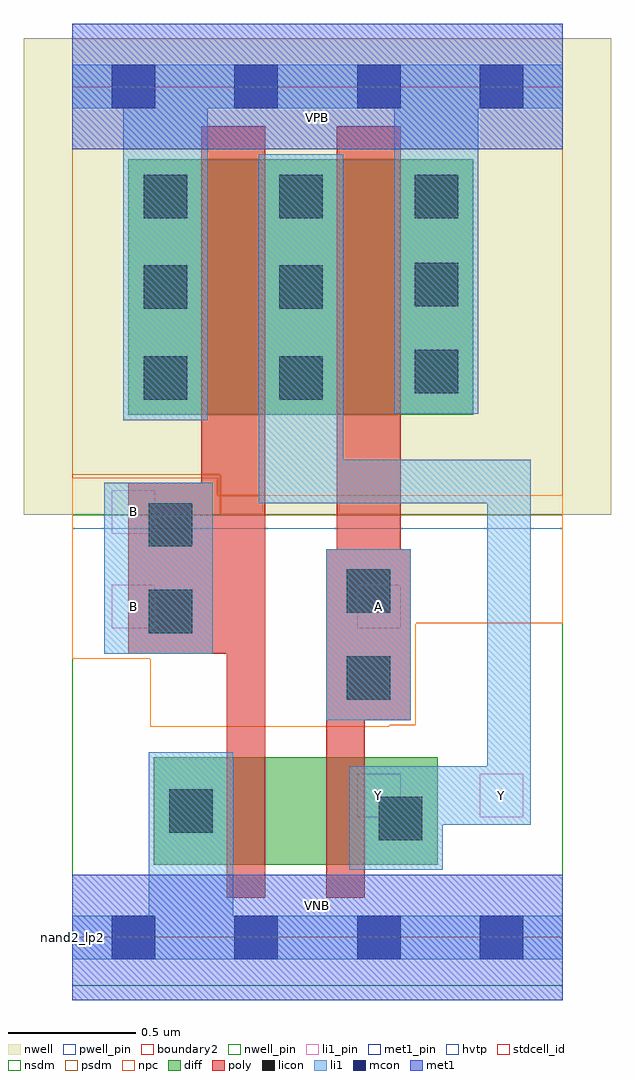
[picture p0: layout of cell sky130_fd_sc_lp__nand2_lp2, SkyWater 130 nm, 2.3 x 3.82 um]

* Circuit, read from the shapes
.subckt sky130_fd_sc_lp__nand2_lp2 A B VGND VNB VPB VPWR Y
XM1 n1 B VGND VNB sky130_fd_pr__nfet_01v8 w=0.42 l=0.15
XM2 Y A n1 VNB sky130_fd_pr__nfet_01v8 w=0.42 l=0.15
XM3 Y B VPWR VPB sky130_fd_pr__pfet_01v8_hvt w=1 l=0.25
XM4 VPWR A Y VPB sky130_fd_pr__pfet_01v8_hvt w=1 l=0.25
.ends

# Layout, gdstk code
import gdstk
lib = gdstk.Library(unit=1e-6, precision=1e-09)
def R(c, l, rs):  # rectangles x0, y0, x1, y1
    for r in rs: c.add(gdstk.rectangle(r[:2], r[2:], *l))
def A(c, l, x, y, w, h, nx, ny, dx, dy):  # array of equal rectangles
    R(c, l, [(x+i*dx, y+j*dy, x+i*dx+w, y+j*dy+h) for i in range(nx) for j in range(ny)])
def P(c, l, *ps):  # polygons
    for p in ps: c.add(gdstk.Polygon(p, *l))
nwell_pin = (64, 16)
nwell = (64, 20)
diff = (65, 20)
poly = (66, 20)
licon = (66, 44)
li1_pin = (67, 16)
li1 = (67, 20)
mcon = (67, 44)
met1_pin = (68, 16)
met1 = (68, 20)
hvtp = (78, 44)
stdcell_id = (81, 4)
nsdm = (93, 44)
psdm = (94, 20)
npc = (95, 20)
pwell_pin = (122, 16)
boundary2 = (236, 0)

sky130_fd_sc_lp__nand2_l = lib.new_cell('sky130_fd_sc_lp__nand2_lp2')
R(sky130_fd_sc_lp__nand2_l, nwell_pin, [(0,3.085,1.92,3.33)])
R(sky130_fd_sc_lp__nand2_l, nwell, [(-0.19,1.655,2.11,3.52)])
R(sky130_fd_sc_lp__nand2_l, diff, [(0.32,0.285,1.43,0.705), (0.22,2.045,1.57,3.045)])
P(sky130_fd_sc_lp__nand2_l, poly, [(0.755,3.175),(0.505,3.175),(0.505,1.78),(0.22,1.78),(0.22,1.11),(0.605,1.11),(0.605,0.155),(0.755,0.155)],
  [(1.325,1.52),(1.285,1.52),(1.285,3.175),(1.035,3.175),(1.035,1.52),(0.995,1.52),(0.995,0.155),(1.145,0.155),(1.145,0.85),(1.325,0.85)])
A(sky130_fd_sc_lp__nand2_l, licon, 0.28, 2.815, 0.17, 0.17, 3, 1, 0.53, 0)
R(sky130_fd_sc_lp__nand2_l, licon, [(1.2,0.38,1.37,0.55), (0.38,0.41,0.55,0.58), (1.075,0.93,1.245,1.1), (0.3,1.19,0.47,1.36), (1.075,1.27,1.245,1.44), (0.3,1.53,0.47,1.7), (0.28,2.105,0.45,2.275), (0.81,2.105,0.98,2.275), (1.34,2.13,1.51,2.3), (0.28,2.46,0.45,2.63), (0.81,2.46,0.98,2.63), (1.34,2.47,1.51,2.64)])
R(sky130_fd_sc_lp__nand2_l, li1_pin, [(1.115,0.47,1.285,0.64), (1.595,0.47,1.765,0.64), (0.155,1.21,0.325,1.38), (1.115,1.21,1.285,1.38), (0.155,1.58,0.325,1.75)])
R(sky130_fd_sc_lp__nand2_l, li1, [(0.995,0.85,1.325,1.52), (0.125,1.11,0.55,1.78)])
P(sky130_fd_sc_lp__nand2_l, li1, [(1.26,2.05),(1.26,3.245),(0.53,3.245),(0.53,2.025),(0.2,2.025),(0.2,3.245),(0,3.245),(0,3.415),(1.92,3.415),(1.92,3.245),(1.59,3.245),(1.59,2.05)],
  [(0.3,0.085),(0.3,0.725),(0.63,0.725),(0.63,0.085),(1.92,0.085),(1.92,-0.085),(0,-0.085),(0,0.085)],
  [(1.06,1.87),(1.795,1.87),(1.795,0.44),(1.45,0.44),(1.45,0.265),(1.085,0.265),(1.085,0.67),(1.625,0.67),(1.625,1.7),(0.73,1.7),(0.73,3.065),(1.06,3.065)])
A(sky130_fd_sc_lp__nand2_l, mcon, 0.155, -0.085, 0.17, 0.17, 4, 2, 0.48, 3.33)
R(sky130_fd_sc_lp__nand2_l, met1_pin, [(0,0,1.92,0.245), (0,3.085,1.92,3.33)])
R(sky130_fd_sc_lp__nand2_l, met1, [(0,-0.245,1.92,0.245), (0,3.085,1.92,3.575)])
R(sky130_fd_sc_lp__nand2_l, hvtp, [(0,1.6,1.92,3.33)])
R(sky130_fd_sc_lp__nand2_l, stdcell_id, [(0,0,1.92,3.33)])
R(sky130_fd_sc_lp__nand2_l, nsdm, [(0,-0.19,1.92,1.655)])
P(sky130_fd_sc_lp__nand2_l, psdm, [(1.92,3.52),(0,3.52),(0,1.81),(0.58,1.81),(0.58,1.655),(1.92,1.655)])
P(sky130_fd_sc_lp__nand2_l, npc, [(1.92,1.73),(0.57,1.73),(0.57,1.8),(0,1.8),(0,1.09),(0.305,1.09),(0.305,0.825),(1.24,0.825),(1.24,0.83),(1.345,0.83),(1.345,1.23),(1.92,1.23)])
R(sky130_fd_sc_lp__nand2_l, pwell_pin, [(0,0,1.92,0.245)])
R(sky130_fd_sc_lp__nand2_l, boundary2, [(0,0,1.92,3.33)])
sky130_fd_sc_lp__nand2_l.add(gdstk.Label('VNB', (0.96,0.123), layer=64, texttype=59))
sky130_fd_sc_lp__nand2_l.add(gdstk.Label('VPB', (0.96,3.208), layer=64, texttype=5))
sky130_fd_sc_lp__nand2_l.add(gdstk.Label('nand2_lp2', (0,0), layer=83, texttype=44))
sky130_fd_sc_lp__nand2_l.add(gdstk.Label('VPWR', (0.96,3.208), layer=68, texttype=5))
sky130_fd_sc_lp__nand2_l.add(gdstk.Label('VGND', (0.96,0.123), layer=68, texttype=5))
sky130_fd_sc_lp__nand2_l.add(gdstk.Label('A', (1.2,1.295), layer=67, texttype=5))
sky130_fd_sc_lp__nand2_l.add(gdstk.Label('B', (0.24,1.295), layer=67, texttype=5))
sky130_fd_sc_lp__nand2_l.add(gdstk.Label('B', (0.24,1.665), layer=67, texttype=5))
sky130_fd_sc_lp__nand2_l.add(gdstk.Label('Y', (1.2,0.555), layer=67, texttype=5))
sky130_fd_sc_lp__nand2_l.add(gdstk.Label('Y', (1.68,0.555), layer=67, texttype=5))

lib.write_gds('sky130_fd_sc_lp__nand2_lp2.gds')
